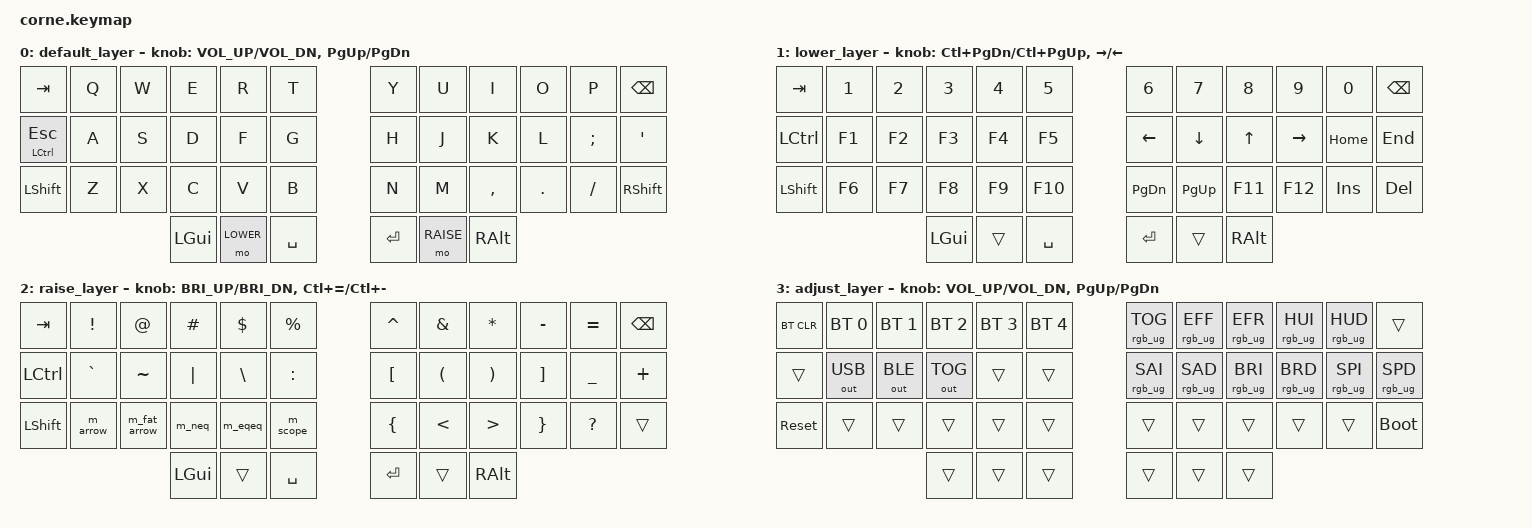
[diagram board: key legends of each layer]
/*
 * Copyright (c) 2020 The ZMK Contributors
 *
 * SPDX-License-Identifier: MIT
 */

#include <behaviors.dtsi>
#include <dt-bindings/zmk/keys.h>
#include <dt-bindings/zmk/bt.h>
#include <dt-bindings/zmk/rgb.h>
#include <dt-bindings/zmk/outputs.h>

#define DEF   0
#define LOWER 1
#define RAISE 2
#define ADJ   3

/ {
        sensors {
                compatible = "zmk,keymap-sensors";
                sensors = <&left_encoder &right_encoder>;
                triggers-per-rotation = <20>;
        };
};

&led_strip {
        chain-length = <27>;
};

&nice_view_spi {
        cs-gpios = <&pro_micro 8 GPIO_ACTIVE_HIGH>;
};

/* ---------------------------------------------------------------------------
 * Macros for common multi-character operators
 * ------------------------------------------------------------------------ */
/ {
        macros {
                m_arrow: m_arrow {            // ->
                        compatible = "zmk,behavior-macro";
                        #binding-cells = <0>;
                        bindings = <&kp MINUS &kp GT>;
                };
                m_fat_arrow: m_fat_arrow {    // =>
                        compatible = "zmk,behavior-macro";
                        #binding-cells = <0>;
                        bindings = <&kp EQUAL &kp GT>;
                };
                m_neq: m_neq {                // !=
                        compatible = "zmk,behavior-macro";
                        #binding-cells = <0>;
                        bindings = <&kp EXCL &kp EQUAL>;
                };
                m_eqeq: m_eqeq {              // ==
                        compatible = "zmk,behavior-macro";
                        #binding-cells = <0>;
                        bindings = <&kp EQUAL &kp EQUAL>;
                };
                m_scope: m_scope {            // ::
                        compatible = "zmk,behavior-macro";
                        #binding-cells = <0>;
                        bindings = <&kp COLON &kp COLON>;
                };
        };

        /* Press both Shift keys together to enable Caps Word (SNAKE_CASE_CONSTANTS etc.)
         * Key positions: row 1 = 0-11, row 2 = 12-23, row 3 = 24-35, thumbs = 36-41 */
        combos {
                compatible = "zmk,combos";
                combo_caps_word {
                        timeout-ms = <50>;
                        key-positions = <24 35>;
                        bindings = <&caps_word>;
                };
        };

        /* Hold LOWER + RAISE together to get the ADJUST layer */
        conditional_layers {
                compatible = "zmk,conditional-layers";
                tri_layer {
                        if-layers = <LOWER RAISE>;
                        then-layer = <ADJ>;
                };
        };

        keymap {
                compatible = "zmk,keymap";

                default_layer {
                                // -----------------------------------------------------------------------------------------
                                // |  TAB |  Q  |  W  |  E  |  R  |  T  |   |  Y  |  U   |  I  |  O  |  P  | BKSP |
                                // |CTL/ES|  A  |  S  |  D  |  F  |  G  |   |  H  |  J   |  K  |  L  |  ;  |  '   |
                                // | SHFT |  Z  |  X  |  C  |  V  |  B  |   |  N  |  M   |  ,  |  .  |  /  | SHFT |
                                //                    | GUI | LWR | SPC |   | ENT | RSE  | ALT |
                        bindings = <
                                &kp TAB       &kp Q &kp W &kp E &kp R &kp T   &kp Y &kp U  &kp I     &kp O   &kp P    &kp BSPC
                                &mt LCTRL ESC &kp A &kp S &kp D &kp F &kp G   &kp H &kp J  &kp K     &kp L   &kp SEMI &kp SQT
                                &kp LSHFT     &kp Z &kp X &kp C &kp V &kp B   &kp N &kp M  &kp COMMA &kp DOT &kp FSLH &kp RSHFT
                                                      &kp LGUI &mo LOWER &kp SPACE   &kp RET &mo RAISE &kp RALT
                        >;
                        sensor-bindings = <
                                &inc_dec_kp C_VOL_UP C_VOL_DN
                                &inc_dec_kp PG_UP PG_DN
                        >;
                };

                lower_layer {
                                // Numbers, vim-style arrows, navigation and function keys
                                // -----------------------------------------------------------------------------------------
                                // |  TAB |  1  |  2  |  3  |  4  |  5  |   |  6  |  7   |  8  |  9  |  0  | BKSP |
                                // | CTRL | F1  | F2  | F3  | F4  | F5  |   |  <  |  v   |  ^  |  >  | HOME| END  |
                                // | SHFT | F6  | F7  | F8  | F9  | F10 |   | PGDN| PGUP | F11 | F12 | INS | DEL  |
                                //                    | GUI |     | SPC |   | ENT |      | ALT |
                        bindings = <
                                &kp TAB   &kp N1  &kp N2  &kp N3  &kp N4  &kp N5    &kp N6    &kp N7    &kp N8  &kp N9    &kp N0   &kp BSPC
                                &kp LCTRL &kp F1  &kp F2  &kp F3  &kp F4  &kp F5    &kp LEFT  &kp DOWN  &kp UP  &kp RIGHT  &kp HOME &kp END
                                &kp LSHFT &kp F6  &kp F7  &kp F8  &kp F9  &kp F10   &kp PG_DN &kp PG_UP &kp F11 &kp F12    &kp INS  &kp DEL
                                                           &kp LGUI &trans &kp SPACE   &kp RET &trans &kp RALT
                        >;
                        sensor-bindings = <
                                &inc_dec_kp LC(PG_DN) LC(PG_UP)
                                &inc_dec_kp RIGHT LEFT
                        >;
                };

                raise_layer {
                                // Symbols: brackets on the right home row, operators on the left
                                // -----------------------------------------------------------------------------------------
                                // |  TAB |  !  |  @  |  #  |  $  |  %  |   |  ^  |  &   |  *  |  -  |  =  | BKSP |
                                // | CTRL |  `  |  ~  |  |  |  \  |  :  |   |  [  |  (   |  )  |  ]  |  _  |  +   |
                                // | SHFT |  -> |  => |  != |  == |  :: |   |  {  |  <   |  >  |  }  |  ?  |      |
                                //                    | GUI |     | SPC |   | ENT |      | ALT |
                        bindings = <
                                &kp TAB    &kp EXCL    &kp AT         &kp HASH   &kp DLLR   &kp PRCNT    &kp CARET &kp AMPS &kp STAR &kp MINUS &kp EQUAL &kp BSPC
                                &kp LCTRL  &kp GRAVE   &kp TILDE      &kp PIPE   &kp BSLH   &kp COLON    &kp LBKT  &kp LPAR &kp RPAR &kp RBKT  &kp UNDER &kp PLUS
                                &kp LSHFT  &m_arrow    &m_fat_arrow   &m_neq     &m_eqeq    &m_scope     &kp LBRC  &kp LT   &kp GT   &kp RBRC  &kp QMARK &trans
                                                                 &kp LGUI &trans &kp SPACE   &kp RET &trans &kp RALT
                        >;
                        sensor-bindings = <
                                &inc_dec_kp C_BRI_UP C_BRI_DN
                                &inc_dec_kp LC(EQUAL) LC(MINUS)
                        >;
                };

                adjust_layer {
                                // Hold LOWER + RAISE: Bluetooth, output, RGB and firmware
                                // -----------------------------------------------------------------------------------------
                                // | BTCLR| BT1 | BT2 | BT3 | BT4 | BT5 |   |TOG  | EFF  | EFR | HUI | HUD |      |
                                // |      | USB | BLE | TOG |     |     |   | SAI | SAD  | BRI | BRD | SPI | SPD  |
                                // |RESET |     |     |     |     |     |   |     |      |     |     |     | BOOT |
                        bindings = <
                                &bt BT_CLR   &bt BT_SEL 0   &bt BT_SEL 1  &bt BT_SEL 2  &bt BT_SEL 3  &bt BT_SEL 4     &rgb_ug RGB_TOG &rgb_ug RGB_EFF &rgb_ug RGB_EFR &rgb_ug RGB_HUI &rgb_ug RGB_HUD &trans
                                &trans       &out OUT_USB   &out OUT_BLE &out OUT_TOG &trans        &trans           &rgb_ug RGB_SAI &rgb_ug RGB_SAD &rgb_ug RGB_BRI &rgb_ug RGB_BRD &rgb_ug RGB_SPI &rgb_ug RGB_SPD
                                &sys_reset   &trans         &trans        &trans        &trans        &trans           &trans           &trans          &trans          &trans          &trans          &bootloader
                                                                          &trans &trans &trans   &trans &trans &trans
                        >;
                        sensor-bindings = <
                                &inc_dec_kp C_VOL_UP C_VOL_DN
                                &inc_dec_kp PG_UP PG_DN
                        >;
                };
        };
};
